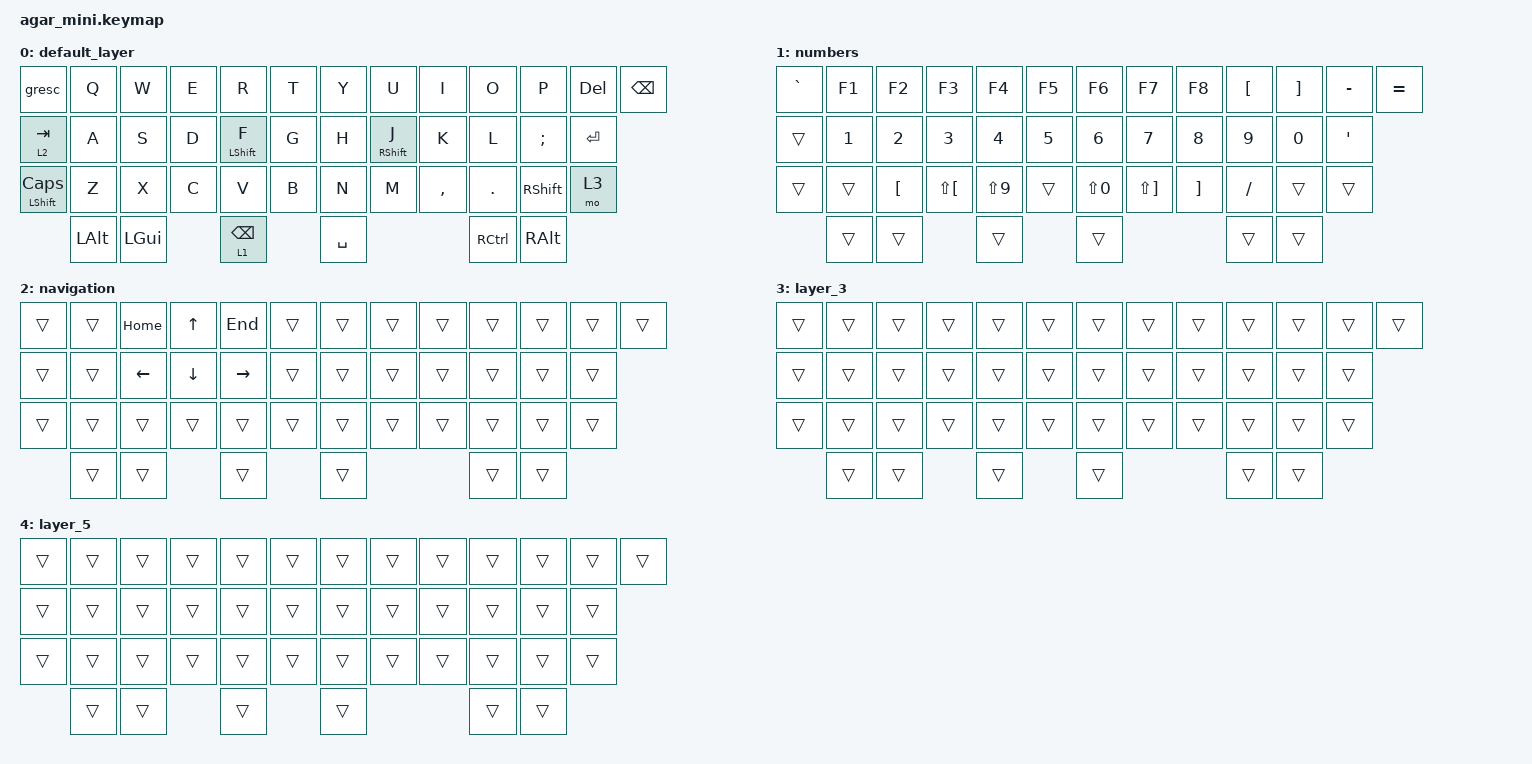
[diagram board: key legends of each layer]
/*
 * Copyright (c) 2021 The ZMK Contributors
 *
 * SPDX-License-Identifier: MIT
 */

#include "./boards/shields/klink_kbd/common.keymap"
#include <behaviors.dtsi>
#include <dt-bindings/zmk/keys.h>

&lt {
    tapping-term-ms = <320>;
    flavor = "tap-preferred";
};

&mt {
    tapping-term-ms = <320>;
    flavor = "tap-preferred";
};

/ {
    combos {
        compatible = "zmk,combos";

        cancel {
            bindings = <&kp LG(Z)>;
            key-positions = <26 27>;
            require-prior-idle-ms = <100>;
            layers = <0>;
            slow-release;
        };

        copy {
            bindings = <&kp LG(C)>;
            key-positions = <28 29>;
            require-prior-idle-ms = <100>;
            slow-release;
            layers = <0>;
        };

        cut {
            bindings = <&kp LG(X)>;
            key-positions = <27 28>;
            require-prior-idle-ms = <100>;
            slow-release;
            layers = <0>;
        };

        paste {
            bindings = <&kp LG(V)>;
            key-positions = <29 30>;
            require-prior-idle-ms = <100>;
            slow-release;
            layers = <0>;
        };

        all_select {
            bindings = <&kp LG(A)>;
            key-positions = <14 15>;
            require-prior-idle-ms = <100>;
            slow-release;
            layers = <0>;
        };

        mk_at {
            bindings = <&kp LS(NUMBER_2)>;
            key-positions = <1 2>;
            require-prior-idle-ms = <100>;
            layers = <0>;
            slow-release;
        };

        mk_bang {
            bindings = <&kp LS(NUMBER_1)>;
            key-positions = <1 0>;
            slow-release;
            require-prior-idle-ms = <100>;
            layers = <0>;
        };

        mk__hash {
            bindings = <&kp LS(NUMBER_3)>;
            key-positions = <2 3>;
            slow-release;
            require-prior-idle-ms = <100>;
            layers = <0>;
        };

        mk_dollar {
            bindings = <&kp LS(NUMBER_4)>;
            key-positions = <3 4>;
            slow-release;
            require-prior-idle-ms = <100>;
            layers = <0>;
        };

        mk_percent {
            bindings = <&kp LS(NUMBER_5)>;
            key-positions = <4 5>;
            slow-release;
            require-prior-idle-ms = <100>;
            layers = <0>;
        };

        mk_caret {
            bindings = <&kp LS(NUMBER_6)>;
            key-positions = <5 6>;
            slow-release;
            require-prior-idle-ms = <100>;
            layers = <0>;
        };

        mk_ampersand {
            bindings = <&kp LS(N7)>;
            key-positions = <6 7>;
            slow-release;
            require-prior-idle-ms = <100>;
            layers = <0>;
        };

        mk_asterisk {
            bindings = <&kp LS(NUMBER_8)>;
            key-positions = <7 8>;
            slow-release;
            require-prior-idle-ms = <100>;
            layers = <0>;
        };

        mk_lParentheses {
            bindings = <&kp LS(NUMBER_9)>;
            key-positions = <8 9>;
            slow-release;
            require-prior-idle-ms = <100>;
            layers = <0>;
        };

        mk_rParentheses {
            bindings = <&kp LS(NUMBER_0)>;
            key-positions = <9 10>;
            slow-release;
            require-prior-idle-ms = <100>;
            layers = <0>;
        };
    };

    behaviors {
        hr_s: hr_shift {
            compatible = "zmk,behavior-hold-tap";
            label = "hr_shift";
            bindings = <&kp>, <&kp>;

            #binding-cells = <2>;
            tapping-term-ms = <200>;
            quick-tap-ms = <130>;
            flavor = "tap-preferred";
        };
    };

    keymap {
        compatible = "zmk,keymap";

        default_layer {
            bindings = <
&gresc                   &kp Q         &kp W     &kp E  &kp R               &kp T  &kp Y      &kp U                &kp I      &kp O              &kp P            &kp DELETE  &kp BSPC
&lt 2 TAB                &kp A         &kp S     &kp D  &hr_s LEFT_SHIFT F  &kp G  &kp H      &hr_s RIGHT_SHIFT J  &kp K      &kp L              &kp SEMI         &kp RET
&mt LEFT_SHIFT CAPSLOCK  &kp Z         &kp X     &kp C  &kp V               &kp B  &kp N      &kp M                &kp COMMA  &kp DOT            &kp RIGHT_SHIFT  &mo 3
                         &kp LEFT_ALT  &kp LGUI         &lt 1 BACKSPACE            &kp SPACE                                  &kp RIGHT_CONTROL  &kp RIGHT_ALT
            >;
        };

        numbers {
            bindings = <
&kp GRAVE  &kp F1  &kp F2    &kp F3        &kp F4      &kp F5  &kp F6            &kp F7        &kp F8    &kp LBKT   &kp RBKT  &kp MINUS  &kp EQUAL
&trans     &kp N1  &kp N2    &kp N3        &kp N4      &kp N5  &kp N6            &kp N7        &kp N8    &kp N9     &kp N0    &kp APOS
&trans     &trans  &kp LBKT  &kp LS(LBKT)  &kp LS(N9)  &trans  &kp LS(NUMBER_0)  &kp LS(RBKT)  &kp RBKT  &kp SLASH  &trans    &trans
           &trans  &trans                  &trans              &trans                                    &trans     &trans
            >;
        };

        navigation {
            bindings = <
&trans  &trans  &kp HOME        &kp UP_ARROW  &kp END    &trans  &trans  &trans  &trans  &trans  &trans  &trans  &trans
&trans  &trans  &kp LEFT_ARROW  &kp DOWN      &kp RIGHT  &trans  &trans  &trans  &trans  &trans  &trans  &trans
&trans  &trans  &trans          &trans        &trans     &trans  &trans  &trans  &trans  &trans  &trans  &trans
        &trans  &trans                        &trans             &trans                  &trans  &trans
            >;
        };

        layer_3 {
            bindings = <
&trans  &trans  &trans  &trans  &trans  &trans  &trans  &trans  &trans  &trans  &trans  &trans  &trans
&trans  &trans  &trans  &trans  &trans  &trans  &trans  &trans  &trans  &trans  &trans  &trans
&trans  &trans  &trans  &trans  &trans  &trans  &trans  &trans  &trans  &trans  &trans  &trans
        &trans  &trans          &trans          &trans                  &trans  &trans
            >;
        };

        layer_5 {
            bindings = <
&trans  &trans  &trans  &trans  &trans  &trans  &trans  &trans  &trans  &trans  &trans  &trans  &trans
&trans  &trans  &trans  &trans  &trans  &trans  &trans  &trans  &trans  &trans  &trans  &trans
&trans  &trans  &trans  &trans  &trans  &trans  &trans  &trans  &trans  &trans  &trans  &trans
        &trans  &trans          &trans          &trans                  &trans  &trans
            >;
        };
    };
};
